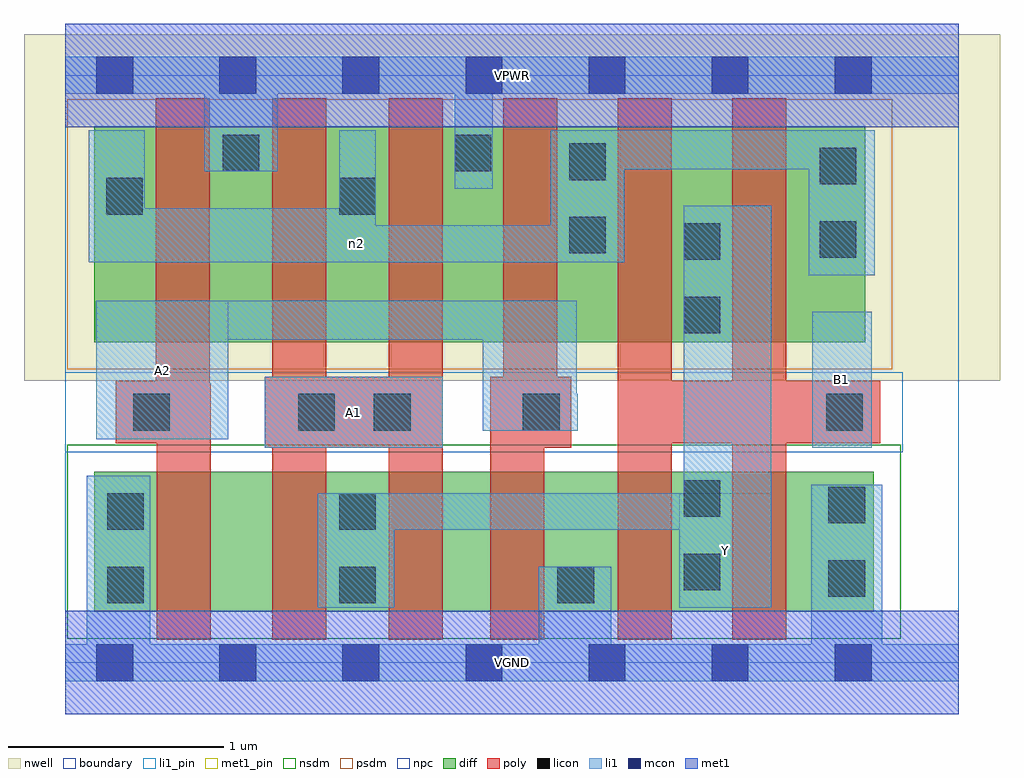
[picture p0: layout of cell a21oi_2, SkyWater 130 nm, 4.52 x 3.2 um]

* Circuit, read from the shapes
.subckt a21oi_2 A1 A2 B1 VGND VPWR Y n2
XM1 n1 A2 VGND VSUBS sky130_fd_pr__nfet_01v8 w=0.65 l=0.25
XM2 Y A1 n1 VSUBS sky130_fd_pr__nfet_01v8 w=0.65 l=0.25
XM3 n3 A1 Y VSUBS sky130_fd_pr__nfet_01v8 w=0.65 l=0.25
XM4 VGND A2 n3 VSUBS sky130_fd_pr__nfet_01v8 w=0.65 l=0.25
XM5 Y B1 VGND VSUBS sky130_fd_pr__nfet_01v8 w=0.65 l=0.25 m=2
XM6 VPWR A2 n2 n4 sky130_fd_pr__pfet_01v8 w=1 l=0.25 m=2
XM7 n2 A1 VPWR n4 sky130_fd_pr__pfet_01v8 w=1 l=0.25 m=2
XM8 Y B1 n2 n4 sky130_fd_pr__pfet_01v8 w=1 l=0.25 m=2
.ends

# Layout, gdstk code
import gdstk
lib = gdstk.Library(unit=1e-6, precision=1e-09)
def R(c, l, rs):  # rectangles x0, y0, x1, y1
    for r in rs: c.add(gdstk.rectangle(r[:2], r[2:], *l))
def A(c, l, x, y, w, h, nx, ny, dx, dy):  # array of equal rectangles
    R(c, l, [(x+i*dx, y+j*dy, x+i*dx+w, y+j*dy+h) for i in range(nx) for j in range(ny)])
nwell = (64, 20)
diff = (65, 20)
poly = (66, 20)
licon = (66, 44)
li1_pin = (67, 16)
li1 = (67, 20)
mcon = (67, 44)
met1_pin = (68, 16)
met1 = (68, 20)
nsdm = (93, 44)
psdm = (94, 20)
npc = (95, 20)
boundary = (235, 4)

a21oi_2 = lib.new_cell('a21oi_2')
R(a21oi_2, nwell, [(-0.19,1.305,4.33,2.91), (0,1.305,4.14,2.91)])
R(a21oi_2, diff, [(0.135,0.235,3.745,0.885), (0.135,1.485,3.705,2.485)])
R(a21oi_2, poly, [(0.425,0.105,0.675,1.295), (0.96,0.105,1.21,2.615), (1.5,0.105,1.75,2.615), (1.97,0.105,2.22,1.325), (2.56,0.105,2.81,2.615), (3.09,0.105,3.34,2.615), (0.925,0.995,1.75,1.325), (1.97,0.995,2.345,1.325), (2.03,0.995,2.28,2.615), (0.235,1.015,0.67,1.305), (0.42,1.015,0.67,2.615), (2.56,1.015,3.775,1.305)])
R(a21oi_2, licon, [(0.195,0.275,0.365,0.445), (1.27,0.275,1.44,0.445), (2.28,0.275,2.45,0.445), (3.535,0.305,3.705,0.475), (2.865,0.335,3.035,0.505), (0.195,0.615,0.365,0.785), (1.27,0.615,1.44,0.785), (3.535,0.645,3.705,0.815), (2.865,0.675,3.035,0.845), (0.315,1.075,0.485,1.245), (1.08,1.075,1.25,1.245), (1.43,1.075,1.6,1.245), (2.12,1.075,2.29,1.245), (3.525,1.075,3.695,1.245), (2.865,1.525,3.035,1.695), (2.865,1.865,3.035,2.035), (3.495,1.875,3.665,2.045), (2.335,1.895,2.505,2.065), (0.19,2.075,0.36,2.245), (1.27,2.075,1.44,2.245), (3.495,2.215,3.665,2.385), (2.335,2.235,2.505,2.405), (0.73,2.275,0.9,2.445), (1.805,2.275,1.975,2.445)])
R(a21oi_2, li1_pin, [(2.845,0.255,3.27,0.785), (0.925,0.995,1.75,1.325), (3.46,0.995,3.735,1.625), (0.145,1.035,0.755,1.675)])
R(a21oi_2, li1, [(0,-0.085,4.14,0.085), (0.1,-0.085,0.395,0.865), (2.195,-0.085,2.53,0.445), (3.455,-0.085,3.785,0.825), (1.17,0.255,1.525,0.785), (2.845,0.255,3.27,0.785), (2.865,0.255,3.27,2.115), (1.17,0.615,3.27,0.785), (0.925,0.995,1.75,1.325), (3.46,0.995,3.735,1.625), (0.145,1.035,0.755,1.675), (1.935,1.075,2.37,1.675), (1.935,1.075,2.375,1.245), (0.145,1.495,2.37,1.675), (3.445,1.795,3.75,2.465), (0.11,1.855,2.59,2.025), (0.11,1.855,0.37,2.465), (0.11,1.855,1.44,2.105), (1.27,1.855,1.44,2.465), (2.25,1.855,2.59,2.465), (1.805,2.195,1.98,2.805), (0.645,2.275,0.985,2.805), (2.25,2.285,3.75,2.465), (0,2.635,4.14,2.805)])
A(a21oi_2, mcon, 0.145, -0.085, 0.17, 0.17, 7, 2, 0.57, 2.72)
R(a21oi_2, met1_pin, [(0,-0.24,4.14,0.24), (0,2.48,4.14,2.96)])
R(a21oi_2, met1, [(0,-0.24,4.14,0.24), (0,2.48,4.14,2.96)])
R(a21oi_2, nsdm, [(0.01,0.11,3.87,1.01)])
R(a21oi_2, psdm, [(0.01,1.36,3.83,2.61)])
R(a21oi_2, npc, [(0,0.975,3.88,1.345)])
R(a21oi_2, boundary, [(0,0,4.14,2.72)])
a21oi_2.add(gdstk.Label('A1', (1.337,1.16), layer=67, texttype=5))
a21oi_2.add(gdstk.Label('A2', (0.45,1.355), layer=67, texttype=5))
a21oi_2.add(gdstk.Label('B1', (3.597,1.31), layer=67, texttype=5))
a21oi_2.add(gdstk.Label('Y', (3.057,0.52), layer=67, texttype=5))
a21oi_2.add(gdstk.Label('n2', (1.35,1.94), layer=67, texttype=5))
a21oi_2.add(gdstk.Label('VPWR', (2.07,2.72), layer=68, texttype=5))
a21oi_2.add(gdstk.Label('VGND', (2.07,0), layer=68, texttype=5))
a21oi_2.add(gdstk.Label('A1', (1.337,1.16), layer=67, texttype=16))
a21oi_2.add(gdstk.Label('A2', (0.45,1.355), layer=67, texttype=16))
a21oi_2.add(gdstk.Label('B1', (3.597,1.31), layer=67, texttype=16))
a21oi_2.add(gdstk.Label('Y', (3.057,0.52), layer=67, texttype=16))
a21oi_2.add(gdstk.Label('VPWR', (2.07,2.72), layer=68, texttype=16))
a21oi_2.add(gdstk.Label('VGND', (2.07,0), layer=68, texttype=16))

lib.write_gds('a21oi_2.gds')
